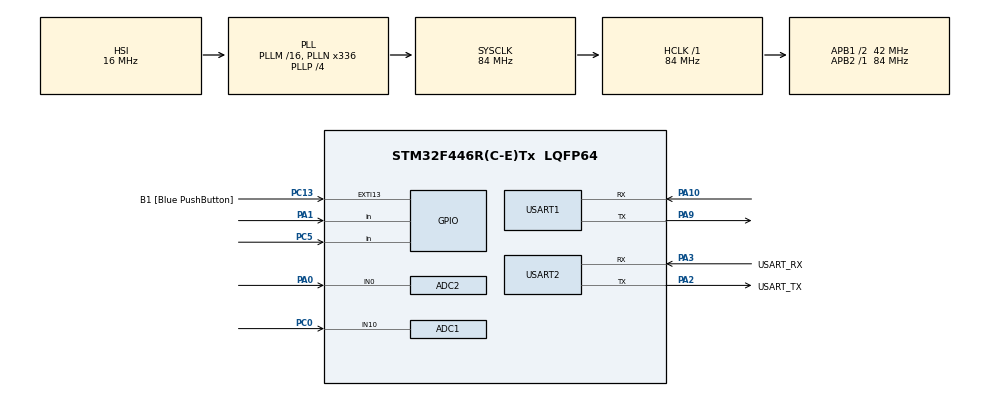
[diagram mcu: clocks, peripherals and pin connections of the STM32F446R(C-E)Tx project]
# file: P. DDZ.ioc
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ADC1.Channel-0\#ChannelRegularConversion=ADC_CHANNEL_10
ADC1.ClockPrescaler=ADC_CLOCK_SYNC_PCLK_DIV8
ADC1.ContinuousConvMode=DISABLE
ADC1.DMAContinuousRequests=ENABLE
ADC1.DataAlign=ADC_DATAALIGN_RIGHT
ADC1.DiscontinuousConvMode=DISABLE
ADC1.EOCSelection=ADC_EOC_SINGLE_CONV
ADC1.EnableAnalogWatchDog=false
ADC1.ExternalTrigConv=ADC_EXTERNALTRIGCONV_T3_TRGO
ADC1.ExternalTrigConvEdge=ADC_EXTERNALTRIGCONVEDGE_RISING
ADC1.InjNumberOfConversion=0
ADC1.NbrOfConversion=1
ADC1.NbrOfConversionFlag=1
ADC1.Rank-0\#ChannelRegularConversion=1
ADC1.Resolution=ADC_RESOLUTION_12B
ADC1.SamplingTime-0\#ChannelRegularConversion=ADC_SAMPLETIME_3CYCLES
ADC1.ScanConvMode=DISABLE
ADC1.master=1
ADC2.Channel-0\#ChannelRegularConversion=ADC_CHANNEL_0
ADC2.ClockPrescaler=ADC_CLOCK_SYNC_PCLK_DIV8
ADC2.ContinuousConvMode=DISABLE
ADC2.DMAContinuousRequests=ENABLE
ADC2.DataAlign=ADC_DATAALIGN_RIGHT
ADC2.DiscontinuousConvMode=DISABLE
ADC2.EOCSelection=ADC_EOC_SINGLE_CONV
ADC2.EnableAnalogWatchDog=false
ADC2.ExternalTrigConv=ADC_EXTERNALTRIGCONV_T3_TRGO
ADC2.ExternalTrigConvEdge=ADC_EXTERNALTRIGCONVEDGE_RISING
ADC2.InjNumberOfConversion=0
ADC2.NbrOfConversion=1
ADC2.NbrOfConversionFlag=1
ADC2.Rank-0\#ChannelRegularConversion=1
ADC2.Resolution=ADC_RESOLUTION_12B
ADC2.SamplingTime-0\#ChannelRegularConversion=ADC_SAMPLETIME_3CYCLES
ADC2.ScanConvMode=DISABLE
Dma.ADC1.0.Direction=DMA_PERIPH_TO_MEMORY
Dma.ADC1.0.FIFOMode=DMA_FIFOMODE_DISABLE
Dma.ADC1.0.Instance=DMA2_Stream0
Dma.ADC1.0.MemDataAlignment=DMA_MDATAALIGN_HALFWORD
Dma.ADC1.0.MemInc=DMA_MINC_ENABLE
Dma.ADC1.0.Mode=DMA_CIRCULAR
Dma.ADC1.0.PeriphDataAlignment=DMA_PDATAALIGN_HALFWORD
Dma.ADC1.0.PeriphInc=DMA_PINC_DISABLE
Dma.ADC1.0.Priority=DMA_PRIORITY_MEDIUM
Dma.ADC2.1.Direction=DMA_PERIPH_TO_MEMORY
Dma.ADC2.1.FIFOMode=DMA_FIFOMODE_DISABLE
Dma.ADC2.1.Instance=DMA2_Stream2
Dma.ADC2.1.MemDataAlignment=DMA_MDATAALIGN_HALFWORD
Dma.ADC2.1.MemInc=DMA_MINC_ENABLE
Dma.ADC2.1.Mode=DMA_CIRCULAR
Dma.ADC2.1.PeriphDataAlignment=DMA_PDATAALIGN_HALFWORD
Dma.ADC2.1.PeriphInc=DMA_PINC_DISABLE
Dma.ADC2.1.Priority=DMA_PRIORITY_MEDIUM
Dma.Request0=ADC1
Dma.Request1=ADC2
Mcu.Family=STM32F4
Mcu.Name=STM32F446R(C-E)Tx
Mcu.Package=LQFP64
NVIC.DMA2_Stream0_IRQn=true\:0\:0\:false\:false\:true
NVIC.DMA2_Stream2_IRQn=true\:0\:0\:false\:false\:true
NVIC.PriorityGroup=NVIC_PRIORITYGROUP_0
PA0-WKUP.Signal=ADCx_IN0
PA1.Signal=GPIO_Input
PA10.Mode=Asynchronous
PA10.Signal=USART1_RX
PA13.GPIO_Label=TMS
PA13.Signal=SYS_JTMS-SWDIO
PA14.GPIO_Label=TCK
PA14.Signal=SYS_JTCK-SWCLK
PA2.GPIO_Label=USART_TX
PA2.Mode=Asynchronous
PA2.Signal=USART2_TX
PA3.GPIO_Label=USART_RX
PA3.Mode=Asynchronous
PA3.Signal=USART2_RX
PA9.Mode=Asynchronous
PA9.Signal=USART1_TX
PB3.GPIO_Label=SWO
PB3.Signal=SYS_JTDO-SWO
PC0.Signal=ADCx_IN10
PC13.GPIO_Label=B1 [Blue PushButton]
PC13.GPIO_ModeDefaultEXTI=GPIO_MODE_IT_FALLING
PC13.Signal=GPXTI13
PC14-OSC32_IN.Signal=RCC_OSC32_IN
PC15-OSC32_OUT.Signal=RCC_OSC32_OUT
PC5.Signal=GPIO_Input
PH0-OSC_IN.Signal=RCC_OSC_IN
PH1-OSC_OUT.Signal=RCC_OSC_OUT
ProjectManager.HeapSize=0x200
ProjectManager.StackSize=0x400
ProjectManager.TargetToolchain=SW4STM32
RCC.AHBFreq_Value=84000000
RCC.APB1CLKDivider=RCC_HCLK_DIV2
RCC.APB1Freq_Value=42000000
RCC.APB1TimFreq_Value=84000000
RCC.APB2Freq_Value=84000000
RCC.APB2TimFreq_Value=84000000
RCC.CortexFreq_Value=84000000
RCC.FLatency-AdvancedSettings=FLASH_LATENCY_2
RCC.HCLKFreq_Value=84000000
RCC.HSE_VALUE=8000000
RCC.HSI_VALUE=16000000
RCC.LSE_VALUE=32768
RCC.PLLN=336
RCC.PLLP=RCC_PLLP_DIV4
RCC.SYSCLKFreq_VALUE=84000000
RCC.SYSCLKSource=RCC_SYSCLKSOURCE_PLLCLK
RCC.USBFreq_Value=168000000
RCC.VCOOutputFreq_Value=336000000
SH.ADCx_IN0.0=ADC2_IN0,IN0
SH.ADCx_IN10.0=ADC1_IN10,IN10
TIM3.Period=49
TIM3.Prescaler=83
TIM3.TIM_MasterOutputTrigger=TIM_TRGO_UPDATE
VP_TIM3_VS_ClockSourceINT.Mode=Internal
board=NUCLEO-F446RE

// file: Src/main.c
/**
  ******************************************************************************
  * File Name          : main.c
  * Description        : Main program body
  ******************************************************************************
  *
  * COPYRIGHT(c) 2018 STMicroelectronics
  *
  * Redistribution and use in source and binary forms, with or without modification,
  * are permitted provided that the following conditions are met:
  *   1. Redistributions of source code must retain the above copyright notice,
  *      this list of conditions and the following disclaimer.
  *   2. Redistributions in binary form must reproduce the above copyright notice,
  *      this list of conditions and the following disclaimer in the documentation
  *      and/or other materials provided with the distribution.
  *   3. Neither the name of STMicroelectronics nor the names of its contributors
  *      may be used to endorse or promote products derived from this software
  *      without specific prior written permission.
  *
  * THIS SOFTWARE IS PROVIDED BY THE COPYRIGHT HOLDERS AND CONTRIBUTORS "AS IS"
  * AND ANY EXPRESS OR IMPLIED WARRANTIES, INCLUDING, BUT NOT LIMITED TO, THE
  * IMPLIED WARRANTIES OF MERCHANTABILITY AND FITNESS FOR A PARTICULAR PURPOSE ARE
  * DISCLAIMED. IN NO EVENT SHALL THE COPYRIGHT HOLDER OR CONTRIBUTORS BE LIABLE
  * FOR ANY DIRECT, INDIRECT, INCIDENTAL, SPECIAL, EXEMPLARY, OR CONSEQUENTIAL
  * DAMAGES (INCLUDING, BUT NOT LIMITED TO, PROCUREMENT OF SUBSTITUTE GOODS OR
  * SERVICES; LOSS OF USE, DATA, OR PROFITS; OR BUSINESS INTERRUPTION) HOWEVER
  * CAUSED AND ON ANY THEORY OF LIABILITY, WHETHER IN CONTRACT, STRICT LIABILITY,
  * OR TORT (INCLUDING NEGLIGENCE OR OTHERWISE) ARISING IN ANY WAY OUT OF THE USE
  * OF THIS SOFTWARE, EVEN IF ADVISED OF THE POSSIBILITY OF SUCH DAMAGE.
  *
  ******************************************************************************
  */
#include "main.h"
#include "stm32f4xx_hal.h"

/* USER CODE BEGIN Includes */
#include "dwt_stm32_delay.h"
#include <math.h>
/* USER CODE END Includes */

ADC_HandleTypeDef hadc1;
ADC_HandleTypeDef hadc2;
DMA_HandleTypeDef hdma_adc1;
DMA_HandleTypeDef hdma_adc2;

TIM_HandleTypeDef htim3;

UART_HandleTypeDef huart1;
UART_HandleTypeDef huart2;

/* USER CODE BEGIN PV */
/* Private variables ---------------------------------------------------------*/

#define GPIODHT GPIOC
#define Pino_DH11 GPIO_PIN_5
#define Linha_1 (0x80)
#define Linha_2 (0xC0)
uint16_t value_luz[10];
uint16_t value_som[100];
char Texto_Serial[100];
uint8_t count = 0;
double dB;
int Media_som = 0;
/* USER CODE END PV */

void SystemClock_Config(void);
void Error_Handler(void);
static void MX_GPIO_Init(void);
static void MX_DMA_Init(void);
static void MX_ADC1_Init(void);
static void MX_TIM3_Init(void);
static void MX_USART1_UART_Init(void);
static void MX_ADC2_Init(void);
static void MX_USART2_UART_Init(void);

/* USER CODE BEGIN PFP */
/* Private function prototypes -----------------------------------------------*/

/* USER CODE END PFP */

/* USER CODE BEGIN 0 */
int Media_Luz;
int Media_T;
uint8_t Rh_Integral, Rh_Decimal, Temp_Integral, Temp_Decimal;
uint16_t sum, RH, TEMP;
int temp_low, temp_high, rh_low, rh_high;
char temp_char1[2], temp_char2, rh_char1[2], rh_char2;
uint8_t check = 0;
GPIO_InitTypeDef GPIO_InitStruct;
void set_gpio_output (void)
{
	/*Configure GPIO pin output: PA2 */
  GPIO_InitStruct.Pin = Pino_DH11;
  GPIO_InitStruct.Mode = GPIO_MODE_OUTPUT_PP;
  GPIO_InitStruct.Speed = GPIO_SPEED_FREQ_LOW;
  HAL_GPIO_Init(GPIOC, &GPIO_InitStruct);
}

float raiz_quadrada (float numero)
{
    int n;
    float recorre = numero;

    for (n = 0; n < 10; ++n)
          recorre = recorre/2 + numero/(2*recorre);

    return(recorre);
}

void set_gpio_input (void)
{
	/*Configure GPIO pin input: PA2 */
  GPIO_InitStruct.Pin = Pino_DH11;
  GPIO_InitStruct.Mode = GPIO_MODE_INPUT;
  GPIO_InitStruct.Pull = GPIO_NOPULL;
  HAL_GPIO_Init(GPIODHT, &GPIO_InitStruct);
}

void DHT11_start (void)
{
	set_gpio_output ();  // set the pin as output
	HAL_GPIO_WritePin (GPIODHT, Pino_DH11, 0);   // pull the pin low
	DWT_Delay_us (18000);   // wait for 18ms
	set_gpio_input ();   // set as input
}

void check_response (void)
{
	DWT_Delay_us (40);
	if (!(HAL_GPIO_ReadPin (GPIODHT, Pino_DH11)))
	{
		DWT_Delay_us (80);
		if ((HAL_GPIO_ReadPin (GPIODHT, Pino_DH11))) check = 1;
	}
}

uint8_t read_data (void)
{
	uint8_t i,j;
	for (j=0;j<8;j++)
	{
		while (!(HAL_GPIO_ReadPin (GPIODHT, Pino_DH11)));   // wait for the pin to go high
		DWT_Delay_us (40);   // wait for 40 us
		if ((HAL_GPIO_ReadPin (GPIODHT, Pino_DH11)) == 0)   // if the pin is low
		{
			i&= ~(1<<(7-j));   // write 0
		}
		else i|= (1<<(7-j));  // if the pin is high, write 1
		while ((HAL_GPIO_ReadPin (GPIODHT, Pino_DH11)));  // wait for the pin to go low
	}
	return i;
}
/* USER CODE END 0 */

int main(void)
{

  /* MCU Configuration----------------------------------------------------------*/

  /* Reset of all peripherals, Initializes the Flash interface and the Systick. */
  HAL_Init();

  /* Configure the system clock */
  SystemClock_Config();

  /* Initialize all configured peripherals */
  MX_GPIO_Init();
  MX_DMA_Init();
  MX_ADC1_Init();
  MX_TIM3_Init();
  MX_USART1_UART_Init();
  MX_ADC2_Init();
  MX_USART2_UART_Init();

  /* USER CODE BEGIN 2 */

	DWT_Delay_Init ();
	HAL_ADC_Start_DMA(&hadc1, (uint32_t*)value_som, 100);
	HAL_ADC_Start_DMA(&hadc2, (uint32_t*)value_luz, 10);
	HAL_TIM_Base_Start(&htim3);
	HAL_Delay (2000);

  /* USER CODE END 2 */

  /* Infinite loop */
  while (1)
  {

  /* USER CODE BEGIN 3 */

		DHT11_start ();
		check_response ();
		if(check == 1){
			while ((HAL_GPIO_ReadPin (GPIODHT, Pino_DH11)));
			Rh_Integral = read_data ();
			Rh_Decimal = read_data ();
			Temp_Integral = read_data ();
			Temp_Decimal = read_data ();
			sum = read_data();
			check = 0;
		}

		RH = Rh_Integral;
		TEMP = Temp_Integral;

		HAL_Delay (1000);

		Media_som = 0;
		for(int m = 0 ; m<100 ; m++){
			Media_som = value_som[m] + Media_som;
		}
		Media_som = Media_som/100;
		dB = ((8.7104*(log((double)Media_som)))+34.936);

		Media_Luz = 0;
		for(int y = 0 ; y<10 ; y++){
			Media_Luz = value_luz[y] + Media_Luz;
		}
		Media_Luz = Media_Luz/200;

	//if(count > 60){
		count = 0;
		sprintf(Texto_Serial,"-%d-%d-%d-%d",TEMP,(int)dB,RH,Media_Luz);
		//!Envia dados de Corrente IRMS para o Computador
		HAL_UART_Transmit(&huart1, (uint8_t*)Texto_Serial, 13 , 100);
		HAL_UART_Transmit(&huart2, (uint8_t*)Texto_Serial, 13 , 100);
	//}
	//count++;
}
  /* USER CODE END 3 */

}

/** System Clock Configuration
*/
void SystemClock_Config(void)
{

  RCC_OscInitTypeDef RCC_OscInitStruct;
  RCC_ClkInitTypeDef RCC_ClkInitStruct;

    /**Configure the main internal regulator output voltage
    */
  __HAL_RCC_PWR_CLK_ENABLE();

  __HAL_PWR_VOLTAGESCALING_CONFIG(PWR_REGULATOR_VOLTAGE_SCALE3);

    /**Initializes the CPU, AHB and APB busses clocks
    */
  RCC_OscInitStruct.OscillatorType = RCC_OSCILLATORTYPE_HSI;
  RCC_OscInitStruct.HSIState = RCC_HSI_ON;
  RCC_OscInitStruct.HSICalibrationValue = 16;
  RCC_OscInitStruct.PLL.PLLState = RCC_PLL_ON;
  RCC_OscInitStruct.PLL.PLLSource = RCC_PLLSOURCE_HSI;
  RCC_OscInitStruct.PLL.PLLM = 16;
  RCC_OscInitStruct.PLL.PLLN = 336;
  RCC_OscInitStruct.PLL.PLLP = RCC_PLLP_DIV4;
  RCC_OscInitStruct.PLL.PLLQ = 2;
  RCC_OscInitStruct.PLL.PLLR = 2;
  if (HAL_RCC_OscConfig(&RCC_OscInitStruct) != HAL_OK)
  {
    Error_Handler();
  }

    /**Initializes the CPU, AHB and APB busses clocks
    */
  RCC_ClkInitStruct.ClockType = RCC_CLOCKTYPE_HCLK|RCC_CLOCKTYPE_SYSCLK
                              |RCC_CLOCKTYPE_PCLK1|RCC_CLOCKTYPE_PCLK2;
  RCC_ClkInitStruct.SYSCLKSource = RCC_SYSCLKSOURCE_PLLCLK;
  RCC_ClkInitStruct.AHBCLKDivider = RCC_SYSCLK_DIV1;
  RCC_ClkInitStruct.APB1CLKDivider = RCC_HCLK_DIV2;
  RCC_ClkInitStruct.APB2CLKDivider = RCC_HCLK_DIV1;

  if (HAL_RCC_ClockConfig(&RCC_ClkInitStruct, FLASH_LATENCY_2) != HAL_OK)
  {
    Error_Handler();
  }

    /**Configure the Systick interrupt time
    */
  HAL_SYSTICK_Config(HAL_RCC_GetHCLKFreq()/1000);

    /**Configure the Systick
    */
  HAL_SYSTICK_CLKSourceConfig(SYSTICK_CLKSOURCE_HCLK);

  /* SysTick_IRQn interrupt configuration */
  HAL_NVIC_SetPriority(SysTick_IRQn, 0, 0);
}

/* ADC1 init function */
static void MX_ADC1_Init(void)
{

  ADC_ChannelConfTypeDef sConfig;

    /**Configure the global features of the ADC (Clock, Resolution, Data Alignment and number of conversion)
    */
  hadc1.Instance = ADC1;
  hadc1.Init.ClockPrescaler = ADC_CLOCK_SYNC_PCLK_DIV8;
  hadc1.Init.Resolution = ADC_RESOLUTION_12B;
  hadc1.Init.ScanConvMode = DISABLE;
  hadc1.Init.ContinuousConvMode = DISABLE;
  hadc1.Init.DiscontinuousConvMode = DISABLE;
  hadc1.Init.ExternalTrigConvEdge = ADC_EXTERNALTRIGCONVEDGE_RISING;
  hadc1.Init.ExternalTrigConv = ADC_EXTERNALTRIGCONV_T3_TRGO;
  hadc1.Init.DataAlign = ADC_DATAALIGN_RIGHT;
  hadc1.Init.NbrOfConversion = 1;
  hadc1.Init.DMAContinuousRequests = ENABLE;
  hadc1.Init.EOCSelection = ADC_EOC_SINGLE_CONV;
  if (HAL_ADC_Init(&hadc1) != HAL_OK)
  {
    Error_Handler();
  }

    /**Configure for the selected ADC regular channel its corresponding rank in the sequencer and its sample time.
    */
  sConfig.Channel = ADC_CHANNEL_10;
  sConfig.Rank = 1;
  sConfig.SamplingTime = ADC_SAMPLETIME_3CYCLES;
  if (HAL_ADC_ConfigChannel(&hadc1, &sConfig) != HAL_OK)
  {
    Error_Handler();
  }

}

/* ADC2 init function */
static void MX_ADC2_Init(void)
{

  ADC_ChannelConfTypeDef sConfig;

    /**Configure the global features of the ADC (Clock, Resolution, Data Alignment and number of conversion)
    */
  hadc2.Instance = ADC2;
  hadc2.Init.ClockPrescaler = ADC_CLOCK_SYNC_PCLK_DIV8;
  hadc2.Init.Resolution = ADC_RESOLUTION_12B;
  hadc2.Init.ScanConvMode = DISABLE;
  hadc2.Init.ContinuousConvMode = DISABLE;
  hadc2.Init.DiscontinuousConvMode = DISABLE;
  hadc2.Init.ExternalTrigConvEdge = ADC_EXTERNALTRIGCONVEDGE_RISING;
  hadc2.Init.ExternalTrigConv = ADC_EXTERNALTRIGCONV_T3_TRGO;
  hadc2.Init.DataAlign = ADC_DATAALIGN_RIGHT;
  hadc2.Init.NbrOfConversion = 1;
  hadc2.Init.DMAContinuousRequests = ENABLE;
  hadc2.Init.EOCSelection = ADC_EOC_SINGLE_CONV;
  if (HAL_ADC_Init(&hadc2) != HAL_OK)
  {
    Error_Handler();
  }

    /**Configure for the selected ADC regular channel its corresponding rank in the sequencer and its sample time.
    */
  sConfig.Channel = ADC_CHANNEL_0;
  sConfig.Rank = 1;
  sConfig.SamplingTime = ADC_SAMPLETIME_3CYCLES;
  if (HAL_ADC_ConfigChannel(&hadc2, &sConfig) != HAL_OK)
  {
    Error_Handler();
  }

}

/* TIM3 init function */
static void MX_TIM3_Init(void)
{

  TIM_ClockConfigTypeDef sClockSourceConfig;
  TIM_MasterConfigTypeDef sMasterConfig;

  htim3.Instance = TIM3;
  htim3.Init.Prescaler = 83;
  htim3.Init.CounterMode = TIM_COUNTERMODE_UP;
  htim3.Init.Period = 49;
  htim3.Init.ClockDivision = TIM_CLOCKDIVISION_DIV1;
  if (HAL_TIM_Base_Init(&htim3) != HAL_OK)
  {
    Error_Handler();
  }

  sClockSourceConfig.ClockSource = TIM_CLOCKSOURCE_INTERNAL;
  if (HAL_TIM_ConfigClockSource(&htim3, &sClockSourceConfig) != HAL_OK)
  {
    Error_Handler();
  }

  sMasterConfig.MasterOutputTrigger = TIM_TRGO_UPDATE;
  sMasterConfig.MasterSlaveMode = TIM_MASTERSLAVEMODE_DISABLE;
  if (HAL_TIMEx_MasterConfigSynchronization(&htim3, &sMasterConfig) != HAL_OK)
  {
    Error_Handler();
  }

}

/* USART1 init function */
static void MX_USART1_UART_Init(void)
{

  huart1.Instance = USART1;
  huart1.Init.BaudRate = 115200;
  huart1.Init.WordLength = UART_WORDLENGTH_8B;
  huart1.Init.StopBits = UART_STOPBITS_1;
  huart1.Init.Parity = UART_PARITY_NONE;
  huart1.Init.Mode = UART_MODE_TX_RX;
  huart1.Init.HwFlowCtl = UART_HWCONTROL_NONE;
  huart1.Init.OverSampling = UART_OVERSAMPLING_16;
  if (HAL_UART_Init(&huart1) != HAL_OK)
  {
    Error_Handler();
  }

}

/* USART2 init function */
static void MX_USART2_UART_Init(void)
{

  huart2.Instance = USART2;
  huart2.Init.BaudRate = 115200;
  huart2.Init.WordLength = UART_WORDLENGTH_8B;
  huart2.Init.StopBits = UART_STOPBITS_1;
  huart2.Init.Parity = UART_PARITY_NONE;
  huart2.Init.Mode = UART_MODE_TX_RX;
  huart2.Init.HwFlowCtl = UART_HWCONTROL_NONE;
  huart2.Init.OverSampling = UART_OVERSAMPLING_16;
  if (HAL_UART_Init(&huart2) != HAL_OK)
  {
    Error_Handler();
  }

}

static void MX_DMA_Init(void)
{
  /* DMA controller clock enable */
  __HAL_RCC_DMA2_CLK_ENABLE();

  /* DMA interrupt init */
  /* DMA2_Stream0_IRQn interrupt configuration */
  HAL_NVIC_SetPriority(DMA2_Stream0_IRQn, 0, 0);
  HAL_NVIC_EnableIRQ(DMA2_Stream0_IRQn);
  /* DMA2_Stream2_IRQn interrupt configuration */
  HAL_NVIC_SetPriority(DMA2_Stream2_IRQn, 0, 0);
  HAL_NVIC_EnableIRQ(DMA2_Stream2_IRQn);

}

/** Configure pins as
        * Analog
        * Input
        * Output
        * EVENT_OUT
        * EXTI
*/
static void MX_GPIO_Init(void)
{

  GPIO_InitTypeDef GPIO_InitStruct;

  /* GPIO Ports Clock Enable */
  __HAL_RCC_GPIOC_CLK_ENABLE();
  __HAL_RCC_GPIOH_CLK_ENABLE();
  __HAL_RCC_GPIOA_CLK_ENABLE();
  __HAL_RCC_GPIOB_CLK_ENABLE();

  /*Configure GPIO pin : B1_Pin */
  GPIO_InitStruct.Pin = B1_Pin;
  GPIO_InitStruct.Mode = GPIO_MODE_IT_FALLING;
  GPIO_InitStruct.Pull = GPIO_NOPULL;
  HAL_GPIO_Init(B1_GPIO_Port, &GPIO_InitStruct);

  /*Configure GPIO pin : PA1 */
  GPIO_InitStruct.Pin = GPIO_PIN_1;
  GPIO_InitStruct.Mode = GPIO_MODE_INPUT;
  GPIO_InitStruct.Pull = GPIO_NOPULL;
  HAL_GPIO_Init(GPIOA, &GPIO_InitStruct);

  /*Configure GPIO pin : PC5 */
  GPIO_InitStruct.Pin = GPIO_PIN_5;
  GPIO_InitStruct.Mode = GPIO_MODE_INPUT;
  GPIO_InitStruct.Pull = GPIO_NOPULL;
  HAL_GPIO_Init(GPIOC, &GPIO_InitStruct);

}

void Error_Handler(void)
{
  while(1)
  {
  }
}

/************************ (C) COPYRIGHT STMicroelectronics *****END OF FILE****/
